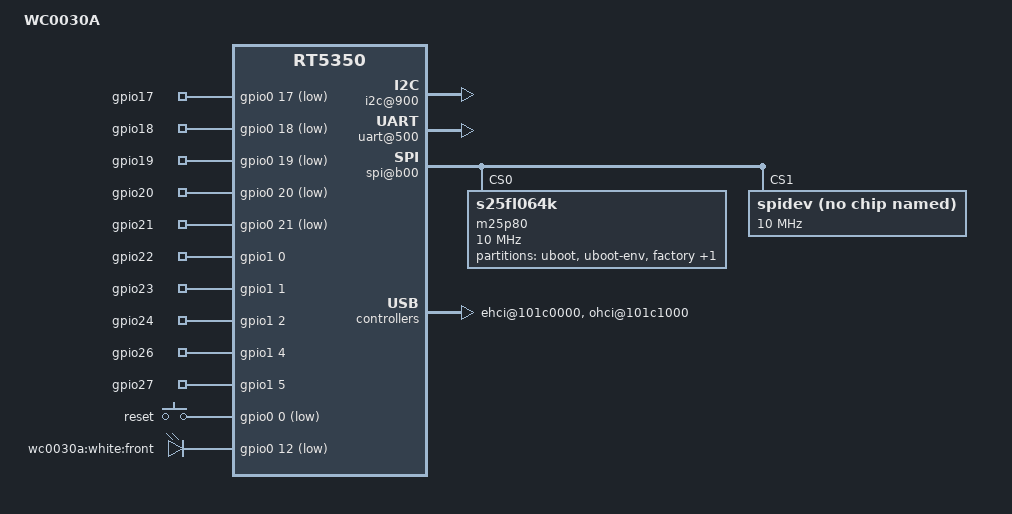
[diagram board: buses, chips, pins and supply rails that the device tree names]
/dts-v1/;

/include/ "rt5350.dtsi"

/ {
	compatible = "WC0030A", "ralink,rt5350-soc";
	model = "WC0030A";

	palmbus@10000000 {
    /* Re-enable the gpio1 ports */
		gpio1: gpio@660 {
			status = "okay";
		};

		i2c@900 {
			status = "okay";
		};

		uart@500 {
			status = "okay";
      /* Mix of uart and gpio */
      reset-names = "gpio uartf";
		};

		spi@b00 {
			status = "okay";

			m25p80@0 {
				#address-cells = <1>;
				#size-cells = <1>;
				compatible = "s25fl064k";
				reg = <0>;
				linux,modalias = "m25p80", "s25fl064k";
				spi-max-frequency = <10000000>;

				partition@0 {
					label = "uboot";
					reg = <0x0 0x20000>;
					read-only;
				};

				partition@20000 {
					label = "uboot-env";
					reg = <0x20000 0x10000>;
					read-only;
				};

				factory: partition@30000 {
					label = "factory";
					reg = <0x30000 0x10000>;
					read-only;
				};

				partition@40000 {
					label = "firmware";
					reg = <0x40000 0x7c0000>;
				};
			};

			spidev@1 {
				compatible = "linux,spidev";
				spi-max-frequency = <10000000>;
				reg = <1>;
			};
		};
	};

	pinctrl {
		state_default: pinctrl0 {
			gpio {
				ralink,group = "jtag", "led", "spi_cs1", "uartf";
				ralink,function = "gpio";
			};
		};
	};

	ethernet@10100000 {
		mtd-mac-address = <&factory 0x4>;
	};

	esw@10110000 {
		ralink,portmap = <0x17>;
	};

	wmac@10180000 {
		ralink,mtd-eeprom = <&factory 0>;
	};

	ehci@101c0000 {
		status = "okay";
	};

	ohci@101c1000 {
		status = "okay";
	};

  chosen {
		bootargs = "console=ttyS1,57600";
	};

	gpio-export {
		compatible = "gpio-export";
		#size-cells = <0>;

		gpio17 {
			/* Vertical end stop UP */
			gpio-export,name = "gpio17";
			gpios = <&gpio0 17 1>;
		};
		gpio18 {
			/* Vertical end stop DOWN */
			gpio-export,name = "gpio18";
			gpios = <&gpio0 18 1>;
		};
		gpio19 {
			/* Horizontal end stop RIGHT */
			gpio-export,name = "gpio19";
			gpios = <&gpio0 19 1>;
		};
		gpio20 {
			/* Horizontal end stop LEFT */
			gpio-export,name = "gpio20";
			gpios = <&gpio0 20 1>;
		};
		gpio21 {
			/* GPIO ALM (External pin 3) */
			gpio-export,name = "gpio21";
			gpios = <&gpio0 21 1>;
		};

    /* Stepper motor latch addresses */
    gpio22 {
      /* Latch A0 */
			gpio-export,name = "gpio22";
			gpio-export,output = <1>;
			gpios = <&gpio1 0 0>;
		};
    gpio23 {
      /* Latch A1 */
			gpio-export,name = "gpio23";
			gpio-export,output = <1>;
			gpios = <&gpio1 1 0>;
		};
    gpio24 {
      /* Latch A2 */
			gpio-export,name = "gpio24";
			gpio-export,output = <1>;
			gpios = <&gpio1 2 0>;
		};
		gpio26 {
			/* Latch D */
			gpio-export,name = "gpio26";
			gpio-export,output = <1>;
			gpios = <&gpio1 4 0>;
		};

    gpio27 {
			/* GPIO RLY (External pin 2) */
			gpio-export,name = "gpio27";
			gpio-export,output = <1>;
			gpios = <&gpio1 5 0>;
		};
	};

	gpio-keys-polled {
		compatible = "gpio-keys-polled";
		#address-cells = <1>;
		#size-cells = <0>;
		poll-interval = <20>;

		reset {
			label = "reset";
			gpios = <&gpio0 0 1>;
			linux,code = <0x198>;
		};
	};

	gpio-leds {
		compatible = "gpio-leds";

		status {
			/* Front LED */
			label = "wc0030a:white:front";
			gpios = <&gpio0 12 1>;
		};
	};

};
